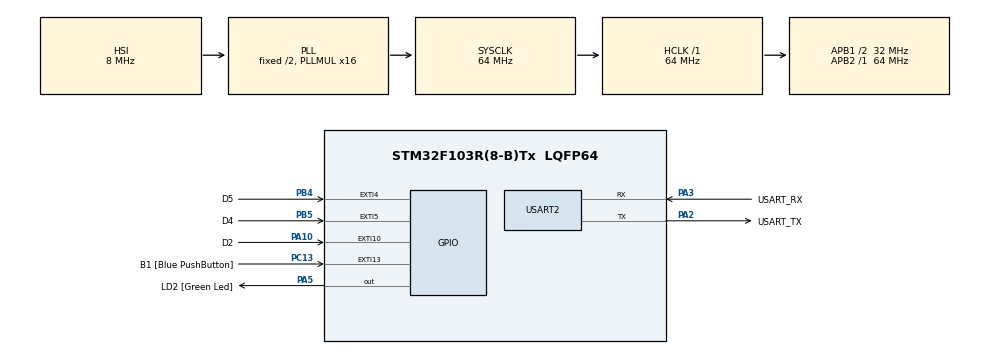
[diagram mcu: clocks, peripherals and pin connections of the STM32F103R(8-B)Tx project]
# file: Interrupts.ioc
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Mcu.Family=STM32F1
Mcu.Name=STM32F103R(8-B)Tx
Mcu.Package=LQFP64
NVIC.EXTI15_10_IRQn=true\:1\:0\:true\:false\:true\:true\:true\:true
NVIC.EXTI4_IRQn=true\:1\:0\:true\:false\:true\:true\:true\:true
NVIC.EXTI9_5_IRQn=true\:1\:0\:true\:false\:true\:true\:true\:true
NVIC.PriorityGroup=NVIC_PRIORITYGROUP_4
PA10.GPIO_Label=D2
PA10.GPIO_PuPd=GPIO_PULLUP
PA10.Signal=GPXTI10
PA13.GPIO_Label=TMS
PA13.Mode=Serial_Wire
PA13.Signal=SYS_JTMS-SWDIO
PA14.GPIO_Label=TCK
PA14.Mode=Serial_Wire
PA14.Signal=SYS_JTCK-SWCLK
PA2.GPIO_Label=USART_TX
PA2.GPIO_Mode=GPIO_MODE_AF_PP
PA2.GPIO_PuPd=GPIO_NOPULL
PA2.GPIO_Speed=GPIO_SPEED_FREQ_LOW
PA2.Mode=Asynchronous
PA2.Signal=USART2_TX
PA3.GPIO_Label=USART_RX
PA3.GPIO_Mode=GPIO_MODE_AF_PP
PA3.GPIO_PuPd=GPIO_NOPULL
PA3.GPIO_Speed=GPIO_SPEED_FREQ_LOW
PA3.Mode=Asynchronous
PA3.Signal=USART2_RX
PA5.GPIO_Label=LD2 [Green Led]
PA5.GPIO_ModeDefaultOutputPP=GPIO_MODE_OUTPUT_PP
PA5.GPIO_PuPd=GPIO_NOPULL
PA5.GPIO_Speed=GPIO_SPEED_FREQ_LOW
PA5.Signal=GPIO_Output
PB3.GPIO_Label=SWO
PB3.Signal=SYS_JTDO-TRACESWO
PB4.GPIO_Label=D5
PB4.GPIO_PuPd=GPIO_PULLUP
PB4.Signal=GPXTI4
PB5.GPIO_Label=D4
PB5.GPIO_PuPd=GPIO_PULLUP
PB5.Signal=GPXTI5
PC13-TAMPER-RTC.GPIO_Label=B1 [Blue PushButton]
PC13-TAMPER-RTC.GPIO_PuPd=GPIO_PULLDOWN
PC13-TAMPER-RTC.Signal=GPXTI13
PC14-OSC32_IN.Mode=LSE-External-Oscillator
PC14-OSC32_IN.Signal=RCC_OSC32_IN
PC15-OSC32_OUT.Mode=LSE-External-Oscillator
PC15-OSC32_OUT.Signal=RCC_OSC32_OUT
PD0-OSC_IN.Mode=HSE-External-Clock-Source
PD0-OSC_IN.Signal=RCC_OSC_IN
PD1-OSC_OUT.Mode=HSE-External-Clock-Source
PD1-OSC_OUT.Signal=RCC_OSC_OUT
ProjectManager.HeapSize=0x200
ProjectManager.StackSize=0x400
ProjectManager.TargetToolchain=STM32CubeIDE
RCC.AHBFreq_Value=64000000
RCC.APB1CLKDivider=RCC_HCLK_DIV2
RCC.APB1Freq_Value=32000000
RCC.APB1TimFreq_Value=64000000
RCC.APB2Freq_Value=64000000
RCC.APB2TimFreq_Value=64000000
RCC.HCLKFreq_Value=64000000
RCC.PLLMUL=RCC_PLL_MUL16
RCC.RTCClockSelection=RCC_RTCCLKSOURCE_LSE
RCC.SYSCLKFreq_VALUE=64000000
RCC.SYSCLKSource=RCC_SYSCLKSOURCE_PLLCLK
RCC.USBFreq_Value=64000000
USART2.VirtualMode=VM_ASYNC
board=NUCLEO-F103RB

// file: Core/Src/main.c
/* USER CODE BEGIN Header */
/**
  ******************************************************************************
  * @file           : main.c
  * @brief          : Main program body
  ******************************************************************************
  * @attention
  *
  * Copyright (c) 2025 STMicroelectronics.
  * All rights reserved.
  *
  * This software is licensed under terms that can be found in the LICENSE file
  * in the root directory of this software component.
  * If no LICENSE file comes with this software, it is provided AS-IS.
  *
  ******************************************************************************
  */
/* USER CODE END Header */
#include "main.h"

/* USER CODE BEGIN Includes */
#include "logger.h"
#include <stdbool.h>
/* USER CODE END Includes */

UART_HandleTypeDef huart2;

/* USER CODE BEGIN PV */
uint16_t tDelay = 100;
bool finterr = false; //flag para ver si se detectó una interr.
uint32_t last_interr = 0; //instante de la última interrupción
uint32_t interr_count = 0;
/* USER CODE END PV */

void SystemClock_Config(void);
static void MX_GPIO_Init(void);
static void MX_USART2_UART_Init(void);

/* USER CODE BEGIN 0 */
void HAL_GPIO_EXTI_Callback(uint16_t GPIO_Pin){
	//si no pasó tanto tiempo desde la interrupción anterior debe ser porque rebotó el botón
	if(HAL_GetTick() - last_interr < 100){
		return;
	}
	interr_count++;
	switch(GPIO_Pin){
			case B1_Pin:
				//ISR del btn azul
				tDelay = tDelay + 50;
				break;
			case D2_Pin:
				//ISR btn externo
				tDelay = 250;
				break;
			case D4_Pin:
				if(tDelay > 50){
					tDelay = tDelay - 50;
				}
				break;
			case D5_Pin:
				tDelay = tDelay + 50;
	}
	finterr = false;
	//HAL_Delay(100); //NO se debe usar en una ISR
	last_interr = HAL_GetTick();

}
/* USER CODE END 0 */

int main(void)
{

  /* MCU Configuration--------------------------------------------------------*/

  /* Reset of all peripherals, Initializes the Flash interface and the Systick. */
  HAL_Init();

  /* Configure the system clock */
  SystemClock_Config();

  /* Initialize all configured peripherals */
  MX_GPIO_Init();
  MX_USART2_UART_Init();

  /* Infinite loop */
  /* USER CODE BEGIN WHILE */
  while (1)
  {
	HAL_GPIO_TogglePin(LD2_GPIO_Port, LD2_Pin);
	HAL_Delay(tDelay);

    /* USER CODE END WHILE */

  }
}

void SystemClock_Config(void)
{
  RCC_OscInitTypeDef RCC_OscInitStruct = {0};
  RCC_ClkInitTypeDef RCC_ClkInitStruct = {0};

  /** Initializes the RCC Oscillators according to the specified parameters
  * in the RCC_OscInitTypeDef structure.
  */
  RCC_OscInitStruct.OscillatorType = RCC_OSCILLATORTYPE_HSI;
  RCC_OscInitStruct.HSIState = RCC_HSI_ON;
  RCC_OscInitStruct.HSICalibrationValue = RCC_HSICALIBRATION_DEFAULT;
  RCC_OscInitStruct.PLL.PLLState = RCC_PLL_ON;
  RCC_OscInitStruct.PLL.PLLSource = RCC_PLLSOURCE_HSI_DIV2;
  RCC_OscInitStruct.PLL.PLLMUL = RCC_PLL_MUL16;
  if (HAL_RCC_OscConfig(&RCC_OscInitStruct) != HAL_OK)
  {
    Error_Handler();
  }

  /** Initializes the CPU, AHB and APB buses clocks
  */
  RCC_ClkInitStruct.ClockType = RCC_CLOCKTYPE_HCLK|RCC_CLOCKTYPE_SYSCLK
                              |RCC_CLOCKTYPE_PCLK1|RCC_CLOCKTYPE_PCLK2;
  RCC_ClkInitStruct.SYSCLKSource = RCC_SYSCLKSOURCE_PLLCLK;
  RCC_ClkInitStruct.AHBCLKDivider = RCC_SYSCLK_DIV1;
  RCC_ClkInitStruct.APB1CLKDivider = RCC_HCLK_DIV2;
  RCC_ClkInitStruct.APB2CLKDivider = RCC_HCLK_DIV1;

  if (HAL_RCC_ClockConfig(&RCC_ClkInitStruct, FLASH_LATENCY_2) != HAL_OK)
  {
    Error_Handler();
  }
}

static void MX_USART2_UART_Init(void)
{

  huart2.Instance = USART2;
  huart2.Init.BaudRate = 115200;
  huart2.Init.WordLength = UART_WORDLENGTH_8B;
  huart2.Init.StopBits = UART_STOPBITS_1;
  huart2.Init.Parity = UART_PARITY_NONE;
  huart2.Init.Mode = UART_MODE_TX_RX;
  huart2.Init.HwFlowCtl = UART_HWCONTROL_NONE;
  huart2.Init.OverSampling = UART_OVERSAMPLING_16;
  if (HAL_UART_Init(&huart2) != HAL_OK)
  {
    Error_Handler();
  }

}

static void MX_GPIO_Init(void)
{
  GPIO_InitTypeDef GPIO_InitStruct = {0};

  /* GPIO Ports Clock Enable */
  __HAL_RCC_GPIOC_CLK_ENABLE();
  __HAL_RCC_GPIOD_CLK_ENABLE();
  __HAL_RCC_GPIOA_CLK_ENABLE();
  __HAL_RCC_GPIOB_CLK_ENABLE();

  /*Configure GPIO pin Output Level */
  HAL_GPIO_WritePin(LD2_GPIO_Port, LD2_Pin, GPIO_PIN_RESET);

  /*Configure GPIO pin : B1_Pin */
  GPIO_InitStruct.Pin = B1_Pin;
  GPIO_InitStruct.Mode = GPIO_MODE_IT_RISING;
  GPIO_InitStruct.Pull = GPIO_PULLDOWN;
  HAL_GPIO_Init(B1_GPIO_Port, &GPIO_InitStruct);

  /*Configure GPIO pin : LD2_Pin */
  GPIO_InitStruct.Pin = LD2_Pin;
  GPIO_InitStruct.Mode = GPIO_MODE_OUTPUT_PP;
  GPIO_InitStruct.Pull = GPIO_NOPULL;
  GPIO_InitStruct.Speed = GPIO_SPEED_FREQ_LOW;
  HAL_GPIO_Init(LD2_GPIO_Port, &GPIO_InitStruct);

  /*Configure GPIO pin : D2_Pin */
  GPIO_InitStruct.Pin = D2_Pin;
  GPIO_InitStruct.Mode = GPIO_MODE_IT_RISING;
  GPIO_InitStruct.Pull = GPIO_PULLUP;
  HAL_GPIO_Init(D2_GPIO_Port, &GPIO_InitStruct);

  /*Configure GPIO pins : D5_Pin D4_Pin */
  GPIO_InitStruct.Pin = D5_Pin|D4_Pin;
  GPIO_InitStruct.Mode = GPIO_MODE_IT_RISING;
  GPIO_InitStruct.Pull = GPIO_PULLUP;
  HAL_GPIO_Init(GPIOB, &GPIO_InitStruct);

  /* EXTI interrupt init*/
  HAL_NVIC_SetPriority(EXTI4_IRQn, 1, 0);
  HAL_NVIC_EnableIRQ(EXTI4_IRQn);

  HAL_NVIC_SetPriority(EXTI9_5_IRQn, 1, 0);
  HAL_NVIC_EnableIRQ(EXTI9_5_IRQn);

  HAL_NVIC_SetPriority(EXTI15_10_IRQn, 1, 0);
  HAL_NVIC_EnableIRQ(EXTI15_10_IRQn);

}

void Error_Handler(void)
{
  __disable_irq();
  while (1)
  {
  }
}
